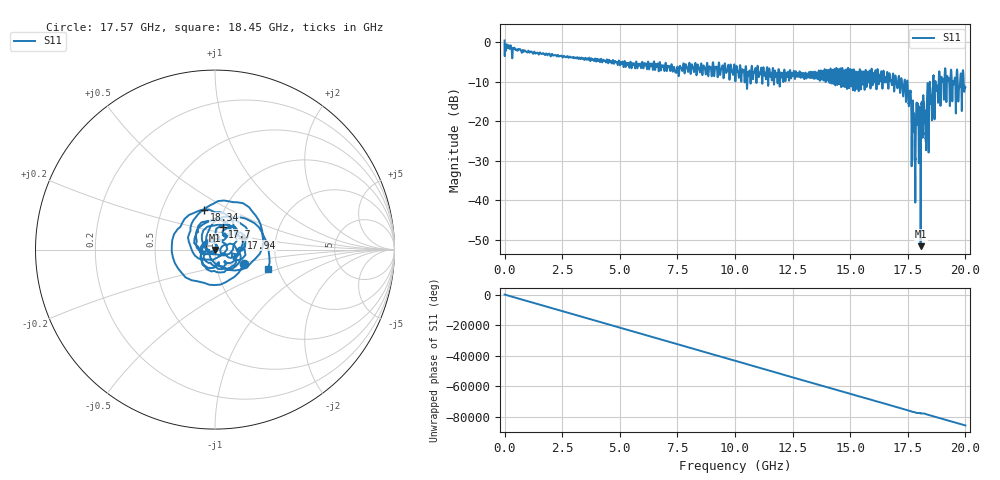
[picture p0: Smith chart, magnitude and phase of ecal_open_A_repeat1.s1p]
! MS46122B
! 2250307/22442219
! 7/22/2025 7:52:00 AM
! C:\USERS\SPARKY\DOCUMENTS\VNA_DATA\JULY22_2025\3K\ECAL_OPEN_A_REPEAT.S1P
! CHANNEL.1
! TR.MEASUREMENT
! RAW.DATA
# GHZ S RI R 50.0
! FREQ.GHZ  S11RE  S11IM
!; PortSelection: Port_1
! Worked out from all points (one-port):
!   10001 points, 1 MHz to 20 GHz, reference 50 ohm
!   lowest |S11| = -51.7 dB at 18.06 GHz (marker M1), VSWR 1.01, Z = 49.8 - j0.144 ohm
!   |S11| at or under -10 dB: 17.25 GHz to 17.35 GHz (107.2 MHz wide, 0.62 % of centre); 17.48 GHz to 18.59 GHz (1.111 GHz wide, 6.16 % of centre); 18.7 GHz to 18.84 GHz (133.6 MHz wide, 0.712 % of centre) (the widest 3 of 61)
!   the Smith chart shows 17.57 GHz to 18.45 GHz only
!   S11 on the Smith chart (normalised r, x): 17.57 GHz: 1.37, -0.22; 17.7 GHz: 1.05, +0.27; 17.94 GHz: 1.33, +0.18; 18.34 GHz: 0.81, +0.38; 18.45 GHz: 1.77, -0.43
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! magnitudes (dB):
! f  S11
! 1 MHz  0.4
! 2.501 GHz  -3.7
! 5.001 GHz  -5.8
! 7.501 GHz  -6.2
! 10 GHz  -8.0
! 10.6 GHz  -8.5
! 10.8 GHz  -7.8
! 12.5 GHz  -8.4
! 15 GHz  -7.0
! 16.78 GHz  -9.8
! 17.42 GHz  -14.9
! 17.5 GHz  -11.4
! 17.57 GHz  -14.9
! 17.7 GHz  -17.5
! 17.75 GHz  -19.7
! 17.89 GHz  -15.8
! 17.94 GHz  -15.8
! 18.06 GHz  -51.7
! 18.17 GHz  -13.8
! 18.22 GHz  -18.8
! 18.34 GHz  -12.8
! 18.41 GHz  -19.5
! 18.45 GHz  -10.0
! 19.05 GHz  -11.1
! 19.46 GHz  -10.7
! 19.51 GHz  -10.5
! 19.57 GHz  -11.3
! 20 GHz  -11.5
